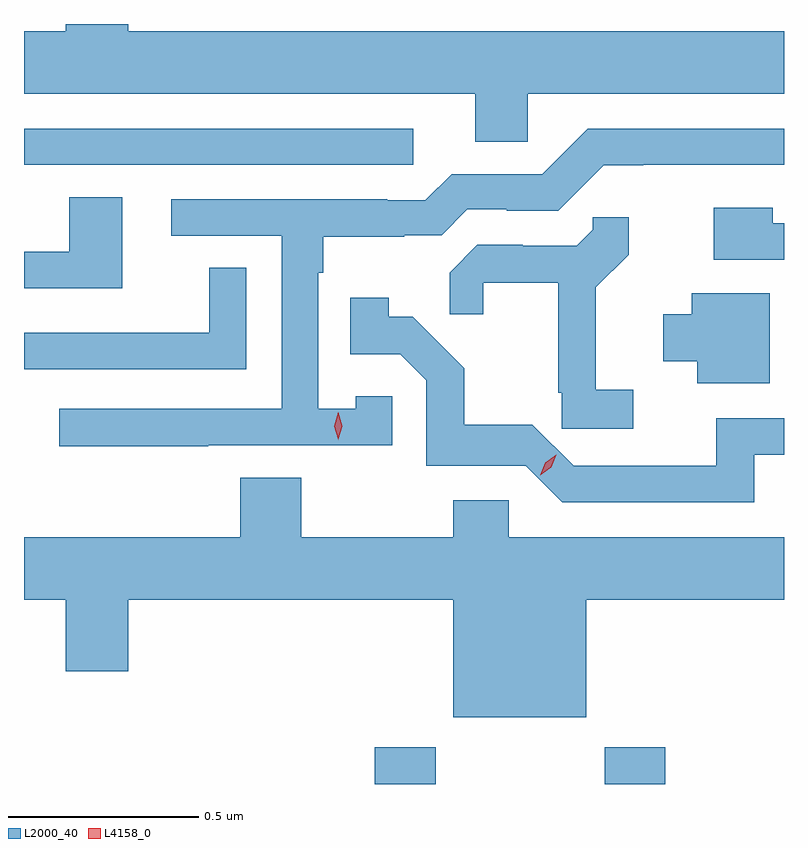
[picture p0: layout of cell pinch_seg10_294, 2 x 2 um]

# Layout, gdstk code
import gdstk
lib = gdstk.Library(unit=1e-6, precision=1e-09)
def R(c, l, rs):  # rectangles x0, y0, x1, y1
    for r in rs: c.add(gdstk.rectangle(r[:2], r[2:], *l))
def P(c, l, *ps):  # polygons
    for p in ps: c.add(gdstk.Polygon(p, *l))
L2000_40 = (2000, 40)
L4158_0 = (4158, 0)

pinch_seg10_294 = lib.new_cell('pinch_seg10_294')
R(pinch_seg10_294, L2000_40, [(501.485,1314.483,501.645,1314.58), (502.09,1314.483,502.25,1314.58), (500.562,1316.112,501.586,1316.208)])
P(pinch_seg10_294, L2000_40, [(501.887,1316.3),(502.562,1316.3),(502.562,1316.464),(500.836,1316.464),(500.836,1316.483),(500.672,1316.483),(500.672,1316.464),(500.562,1316.464),(500.562,1316.3),(501.749,1316.3),(501.749,1316.173),(501.887,1316.173)],
  [(501.047,1315.374),(501.531,1315.374),(501.531,1315.503),(501.435,1315.503),(501.435,1315.471),(501.336,1315.471),(501.336,1315.829),(501.349,1315.829),(501.349,1315.923),(501.563,1315.923),(501.563,1315.927),(501.661,1315.927),(501.729,1315.995),(501.832,1315.995),(501.832,1315.992),(501.968,1315.992),(502.087,1316.111),(502.192,1316.111),(502.192,1316.112),(502.562,1316.112),(502.562,1316.208),(502.046,1316.208),(501.926,1316.088),(501.687,1316.088),(501.618,1316.019),(501.518,1316.019),(501.518,1316.022),(500.949,1316.022),(500.949,1315.926),(501.24,1315.926),(501.24,1315.47),(500.655,1315.47),(500.655,1315.372),(501.047,1315.372)],
  [(500.821,1316.027),(500.681,1316.027),(500.681,1315.884),(500.562,1315.884),(500.562,1315.788),(500.821,1315.788)],
  [(502.562,1315.959),(502.533,1315.959),(502.533,1315.999),(502.377,1315.999),(502.377,1315.863),(502.562,1315.863)],
  [(502.165,1315.521),(502.066,1315.521),(502.066,1315.79),(502.153,1315.876),(502.153,1315.974),(502.059,1315.974),(502.059,1315.941),(502.017,1315.899),(501.875,1315.899),(501.875,1315.902),(501.755,1315.902),(501.683,1315.829),(501.683,1315.719),(501.77,1315.719),(501.77,1315.802),(501.968,1315.802),(501.968,1315.513),(501.977,1315.513),(501.977,1315.418),(502.165,1315.418)],
  [(501.147,1315.841),(501.049,1315.841),(501.049,1315.671),(500.653,1315.671),(500.653,1315.67),(500.562,1315.67),(500.562,1315.575),(501.147,1315.575)],
  [(502.525,1315.774),(502.319,1315.774),(502.319,1315.719),(502.244,1315.719),(502.244,1315.595),(502.334,1315.595),(502.334,1315.538),(502.525,1315.538)],
  [(502.484,1315.35),(502.562,1315.35),(502.562,1315.446),(502.384,1315.446),(502.384,1315.32),(502.009,1315.32),(501.9,1315.429),(501.72,1315.429),(501.72,1315.577),(501.585,1315.712),(501.522,1315.712),(501.522,1315.762),(501.421,1315.762),(501.421,1315.614),(501.552,1315.614),(501.621,1315.545),(501.621,1315.32),(501.882,1315.32),(501.978,1315.224),(502.484,1315.224)],
  [(502.042,1314.968),(502.562,1314.968),(502.562,1315.132),(501.837,1315.132),(501.837,1315.23),(501.691,1315.23),(501.691,1315.132),(501.291,1315.132),(501.291,1315.289),(501.131,1315.289),(501.131,1315.132),(500.562,1315.132),(500.562,1314.968),(500.672,1314.968),(500.672,1314.78),(500.836,1314.78),(500.836,1314.968),(501.692,1314.968),(501.692,1314.659),(502.042,1314.659)])
P(pinch_seg10_294, L4158_0, [(501.92,1315.296),(501.92,1315.296),(501.934,1315.329),(501.963,1315.35),(501.963,1315.35),(501.963,1315.35),(501.949,1315.317),(501.92,1315.296)],
  [(501.389,1315.389),(501.389,1315.39),(501.379,1315.425),(501.389,1315.461),(501.389,1315.461),(501.389,1315.461),(501.399,1315.425),(501.389,1315.39)])

lib.write_gds('pinch_seg10_294.gds')
